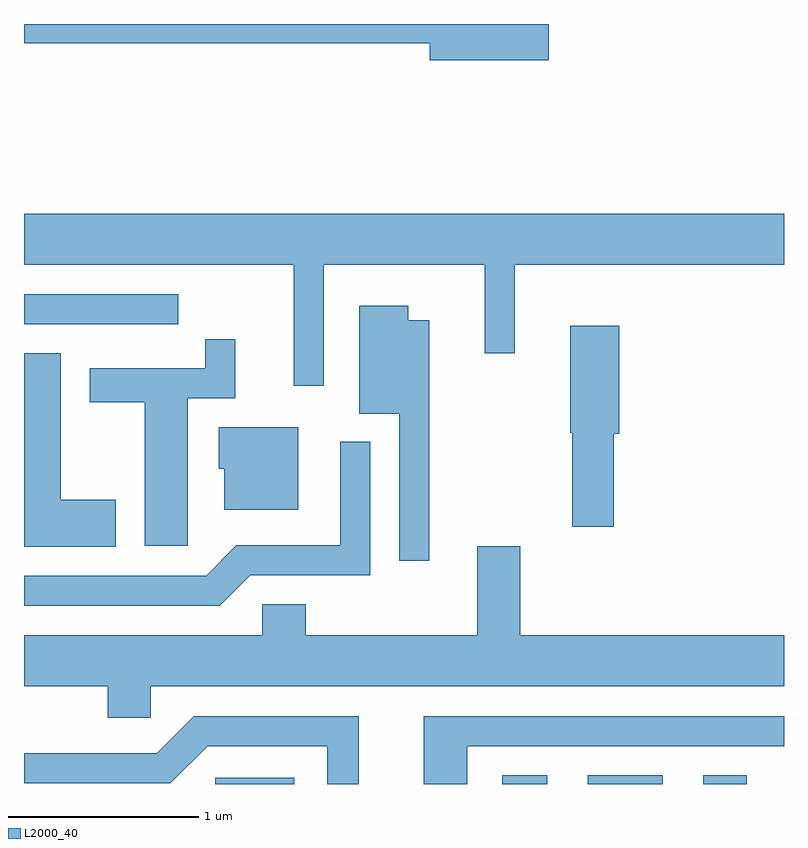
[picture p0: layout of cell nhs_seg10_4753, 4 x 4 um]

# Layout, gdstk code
import gdstk
lib = gdstk.Library(unit=1e-6, precision=1e-09)
def R(c, l, rs):  # rectangles x0, y0, x1, y1
    for r in rs: c.add(gdstk.rectangle(r[:2], r[2:], *l))
def P(c, l, *ps):  # polygons
    for p in ps: c.add(gdstk.Polygon(p, *l))
L2000_40 = (2000, 40)

nhs_seg10_4753 = lib.new_cell('nhs_seg10_4753')
R(nhs_seg10_4753, L2000_40, [(326.618,2104.522,327.034,2104.554), (328.128,2104.522,328.364,2104.569), (328.578,2104.522,328.974,2104.569), (329.186,2104.522,329.414,2104.569), (325.611,2106.941,326.423,2107.099)])
P(nhs_seg10_4753, L2000_40, [(328.374,2108.522),(325.611,2108.522),(325.611,2108.421),(327.746,2108.421),(327.746,2108.331),(328.374,2108.331)],
  [(327.189,2107.256),(328.036,2107.256),(328.036,2106.788),(328.194,2106.788),(328.194,2107.256),(329.611,2107.256),(329.611,2107.524),(325.611,2107.524),(325.611,2107.256),(327.031,2107.256),(327.031,2106.618),(327.189,2106.618)],
  [(327.744,2106.964),(327.634,2106.964),(327.634,2107.039),(327.376,2107.039),(327.376,2106.471),(327.586,2106.471),(327.586,2105.698),(327.744,2105.698)],
  [(328.714,2106.366),(328.744,2106.366),(328.744,2106.934),(328.486,2106.934),(328.486,2106.37),(328.496,2106.37),(328.496,2105.876),(328.714,2105.876)],
  [(326.474,2106.551),(326.724,2106.551),(326.724,2106.863),(326.566,2106.863),(326.566,2106.709),(325.956,2106.709),(325.956,2106.531),(326.246,2106.531),(326.246,2105.776),(326.474,2105.776)],
  [(326.094,2106.019),(325.804,2106.019),(325.804,2106.789),(325.611,2106.789),(325.611,2105.771),(326.094,2105.771)],
  [(327.054,2106.399),(326.636,2106.399),(326.636,2106.181),(326.666,2106.181),(326.666,2105.966),(327.054,2105.966)],
  [(326.802,2105.621),(327.434,2105.621),(327.434,2106.323),(327.276,2106.323),(327.276,2105.779),(326.729,2105.779),(326.569,2105.619),(325.611,2105.619),(325.611,2105.461),(326.642,2105.461)],
  [(326.279,2105.036),(329.611,2105.036),(329.611,2105.304),(328.224,2105.304),(328.224,2105.774),(327.996,2105.774),(327.996,2105.304),(327.094,2105.304),(327.094,2105.469),(326.866,2105.469),(326.866,2105.304),(325.611,2105.304),(325.611,2105.036),(326.051,2105.036),(326.051,2104.871),(326.279,2104.871)],
  [(327.374,2104.879),(326.504,2104.879),(326.309,2104.684),(325.611,2104.684),(325.611,2104.526),(326.382,2104.526),(326.577,2104.721),(327.206,2104.721),(327.206,2104.522),(327.374,2104.522)],
  [(327.944,2104.721),(329.611,2104.721),(329.611,2104.879),(327.716,2104.879),(327.716,2104.522),(327.944,2104.522)])

lib.write_gds('nhs_seg10_4753.gds')
